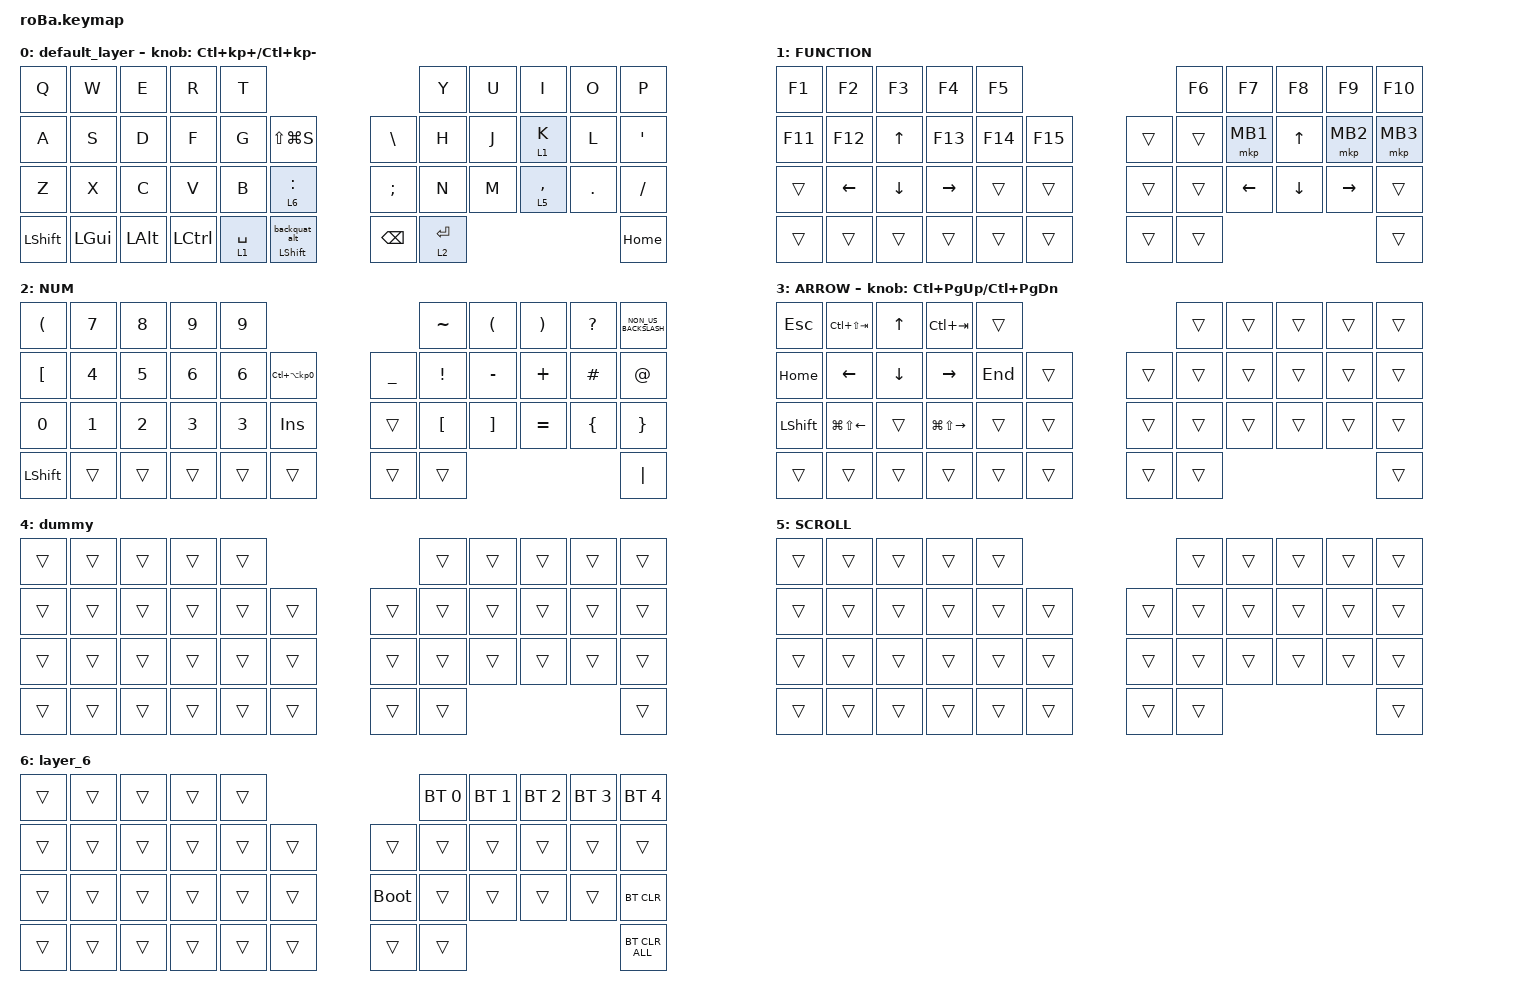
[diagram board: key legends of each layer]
#include <behaviors.dtsi>
#include <dt-bindings/zmk/bt.h>
#include <dt-bindings/zmk/keys.h>
#include <dt-bindings/zmk/pointing.h>

&mt {
    flavor = "balanced";
    quick-tap-ms = <0>;
};

&trackball {
    automouse-layer = <4>;
    scroll-layers = <5>;

    // arrows {
    //     layers = <3>;
    //     bindings =
    //         <&kp RIGHT_ARROW>,
    //         <&kp LEFT_ARROW>,
    //         <&kp UP_ARROW>,
    //         <&kp DOWN_ARROW>;
    //     tick = <10>;
    //     wait-ms = <5>;
    //     tap-ms = <5>;
    // };
};

/ {
    combos {
        compatible = "zmk,combos";

        tab {
            bindings = <&kp TAB>;
            key-positions = <11 12>;
        };

        shift_tab {
            bindings = <&kp LS(TAB)>;
            key-positions = <12 13>;
        };

        double_quotation {
            bindings = <&kp DOUBLE_QUOTES>;
            key-positions = <20 21>;
        };

        eq {
            bindings = <&kp EQUAL>;
            key-positions = <24 25>;
        };

        delete {
            bindings = <&kp DELETE>;
            key-positions = <8 9>;
        };

        end {
            bindings = <&kp END>;
            key-positions = <32 33>;
        };

        esc {
            bindings = <&kp ESC>;
            key-positions = <0 1>;
        };

        lang {
            bindings = <&kp LG(LC(SPACE))>;
            key-positions = <3 4>;
        };

        pageup {
            bindings = <&kp PAGE_UP>;
            key-positions = <16 17>;
        };

        pagedown {
            bindings = <&kp PAGE_DOWN>;
            key-positions = <28 29>;
        };

        casual {
            bindings = <&kp LC(LA(R))>;
            key-positions = <2 3>;
        };

        formal {
            bindings = <&kp LC(LA(W))>;
            key-positions = <1 2>;
        };
    };

    macros {
        backquat_alt: backquat_alt {
            compatible = "zmk,behavior-macro";
            #binding-cells = <0>;
            bindings =
                <&macro_press>,
                <&kp LEFT_ALT>,
                <&macro_tap>,
                <&kp GRAVE>,
                <&macro_release>,
                <&kp LALT>;

            label = "BACKQUAT_ALT";
        };
    };

    behaviors {
        new_behavior: new_behavior {
            compatible = "zmk,behavior-hold-tap";
            label = "NEW_BEHAVIOR";
            bindings = <&kp>, <&backquat_alt>;

            #binding-cells = <2>;
            tapping-term-ms = <200>;
            flavor = "tap-preferred";
        };
    };

    keymap {
        compatible = "zmk,keymap";

        default_layer {
            bindings = <
&kp Q           &kp W         &kp E         &kp R      &kp T                                                       &kp Y        &kp U  &kp I        &kp O    &kp P
&kp A           &kp S         &kp D         &kp F      &kp G        &kp LS(LG(S))                   &kp BACKSLASH  &kp H        &kp J  &lt 1 K      &kp L    &kp SQT
&kp Z           &kp X         &kp C         &kp V      &kp B        &lt 6 COLON                     &kp SEMICOLON  &kp N        &kp M  &lt 5 COMMA  &kp DOT  &kp SLASH
&kp LEFT_SHIFT  &kp LEFT_GUI  &kp LEFT_ALT  &kp LCTRL  &lt 1 SPACE  &new_behavior LEFT_SHIFT 0      &kp BACKSPACE  &lt 2 ENTER                               &kp HOME
            >;

            sensor-bindings = <&inc_dec_kp LC(KP_PLUS) LC(KP_MINUS)>;
        };

        FUNCTION {
            bindings = <
&kp F1   &kp F2          &kp F3          &kp F4           &kp F5                        &kp F6  &kp F7          &kp F8          &kp F9           &kp F10
&kp F11  &kp F12         &kp UP_ARROW    &kp F13          &kp F14  &kp F15      &trans  &trans  &mkp MB1        &kp UP_ARROW    &mkp MB2         &mkp MB3
&trans   &kp LEFT_ARROW  &kp DOWN_ARROW  &kp RIGHT_ARROW  &trans   &trans       &trans  &trans  &kp LEFT_ARROW  &kp DOWN_ARROW  &kp RIGHT_ARROW  &trans
&trans   &trans          &trans          &trans           &trans   &trans       &trans  &trans                                                   &trans
            >;
        };

        NUM {
            bindings = <
&kp LEFT_PARENTHESIS  &kp N7        &kp N8        &kp N9        &kp N9                                                     &kp TILDE         &kp LEFT_PARENTHESIS  &kp RIGHT_PARENTHESIS  &kp QUESTION    &kp NON_US_BACKSLASH
&kp LEFT_BRACKET      &kp NUMBER_4  &kp N5        &kp NUMBER_6  &kp NUMBER_6  &kp LC(LA(KP_NUMBER_0))      &kp UNDERSCORE  &kp EXCLAMATION   &kp MINUS             &kp PLUS               &kp HASH        &kp AT_SIGN
&kp N0                &kp NUMBER_1  &kp NUMBER_2  &kp NUMBER_3  &kp NUMBER_3  &kp INSERT                   &trans          &kp LEFT_BRACKET  &kp RIGHT_BRACKET     &kp EQUAL              &kp LEFT_BRACE  &kp RIGHT_BRACE
&kp LEFT_SHIFT        &trans        &trans        &trans        &trans        &trans                       &trans          &trans                                                                         &kp PIPE
            >;
        };

        ARROW {
            bindings = <
&kp ESCAPE      &kp LC(LS(TAB))         &kp UP_ARROW    &kp LC(TAB)              &trans                       &trans  &trans  &trans  &trans  &trans
&kp HOME        &kp LEFT_ARROW          &kp DOWN_ARROW  &kp RIGHT_ARROW          &kp END  &trans      &trans  &trans  &trans  &trans  &trans  &trans
&kp LEFT_SHIFT  &kp LG(LS(LEFT_ARROW))  &trans          &kp LG(LS(RIGHT_ARROW))  &trans   &trans      &trans  &trans  &trans  &trans  &trans  &trans
&trans          &trans                  &trans          &trans                   &trans   &trans      &trans  &trans                          &trans
            >;

            sensor-bindings = <&inc_dec_kp LC(PAGE_UP) LC(PAGE_DOWN)>;
        };

        dummy {
            bindings = <
&trans  &trans  &trans  &trans  &trans                      &trans  &trans  &trans  &trans  &trans
&trans  &trans  &trans  &trans  &trans  &trans      &trans  &trans  &trans  &trans  &trans  &trans
&trans  &trans  &trans  &trans  &trans  &trans      &trans  &trans  &trans  &trans  &trans  &trans
&trans  &trans  &trans  &trans  &trans  &trans      &trans  &trans                          &trans
            >;
        };

        SCROLL {
            bindings = <
&trans  &trans  &trans  &trans  &trans                      &trans  &trans  &trans  &trans  &trans
&trans  &trans  &trans  &trans  &trans  &trans      &trans  &trans  &trans  &trans  &trans  &trans
&trans  &trans  &trans  &trans  &trans  &trans      &trans  &trans  &trans  &trans  &trans  &trans
&trans  &trans  &trans  &trans  &trans  &trans      &trans  &trans                          &trans
            >;
        };

        layer_6 {
            bindings = <
&trans  &trans  &trans  &trans  &trans                           &bt BT_SEL 0  &bt BT_SEL 1  &bt BT_SEL 2  &bt BT_SEL 3  &bt BT_SEL 4
&trans  &trans  &trans  &trans  &trans  &trans      &trans       &trans        &trans        &trans        &trans        &trans
&trans  &trans  &trans  &trans  &trans  &trans      &bootloader  &trans        &trans        &trans        &trans        &bt BT_CLR
&trans  &trans  &trans  &trans  &trans  &trans      &trans       &trans                                                  &bt BT_CLR_ALL
            >;
        };
    };
};
